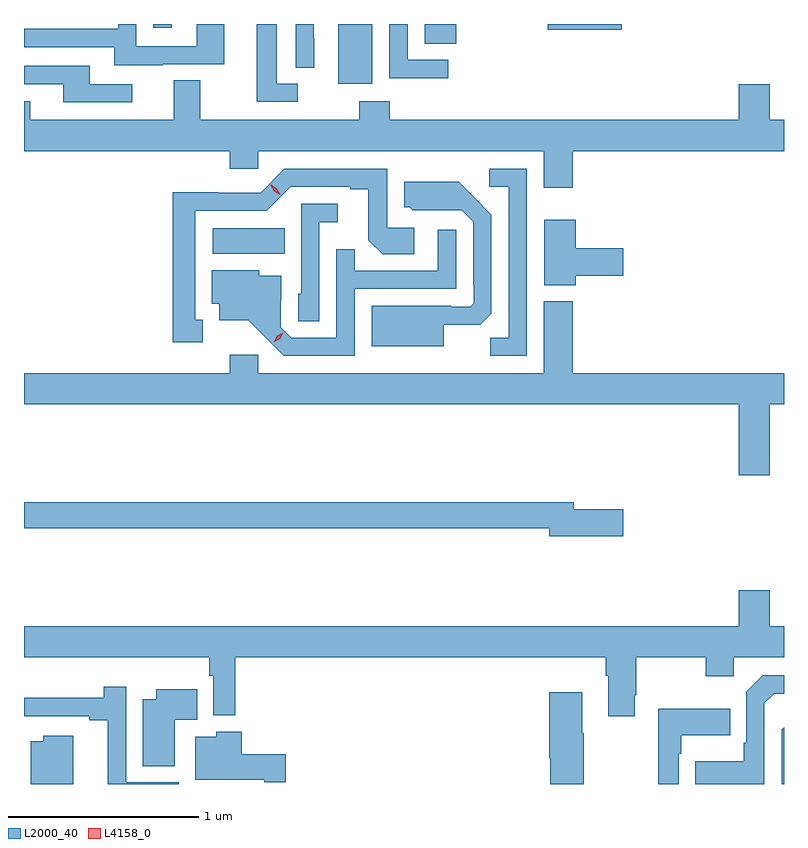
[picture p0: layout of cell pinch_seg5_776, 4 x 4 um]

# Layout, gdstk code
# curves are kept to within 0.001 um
import gdstk
lib = gdstk.Library(unit=1e-6, precision=1e-09)
def R(c, l, rs):  # rectangles x0, y0, x1, y1
    for r in rs: c.add(gdstk.rectangle(r[:2], r[2:], *l))
def P(c, l, *ps):  # polygons
    for p in ps: c.add(gdstk.Polygon(p, *l))
L2000_40 = (2000, 40)
L4158_0 = (4158, 0)

pinch_seg5_776 = lib.new_cell('pinch_seg5_776')
R(pinch_seg5_776, L2000_40, [(797.604,909.5,797.984,909.634), (798.266,910.394,798.445,910.709), (798.719,910.606,798.885,910.709), (799.368,910.678,799.756,910.709), (797.292,910.689,797.389,910.709)])
P(pinch_seg5_776, L2000_40, [(797.341,910.497),(797.665,910.497),(797.665,910.709),(797.52,910.709),(797.52,910.593),(797.202,910.593),(797.202,910.709),(797.106,910.709),(797.106,910.683),(796.611,910.683),(796.611,910.587),(797.087,910.587),(797.087,910.493),(797.341,910.493)],
  [(798.844,910.521),(798.63,910.521),(798.63,910.709),(798.534,910.709),(798.534,910.423),(798.844,910.423)],
  [(798.138,910.634),(798.137,910.634),(798.137,910.709),(798.042,910.709),(798.042,910.48),(798.138,910.48)],
  [(798.052,910.395),(797.941,910.395),(797.941,910.709),(797.837,910.709),(797.837,910.299),(798.052,910.299)],
  [(797.182,910.392),(796.957,910.392),(796.957,910.488),(796.611,910.488),(796.611,910.392),(796.817,910.392),(796.817,910.296),(797.182,910.296)],
  [(799.499,910.04),(800.611,910.04),(800.611,910.204),(800.536,910.204),(800.536,910.393),(800.372,910.393),(800.372,910.204),(798.536,910.204),(798.536,910.303),(798.376,910.303),(798.376,910.204),(797.539,910.204),(797.539,910.412),(797.399,910.412),(797.399,910.204),(796.645,910.204),(796.645,910.303),(796.611,910.303),(796.611,910.04),(797.693,910.04),(797.693,909.947),(797.844,909.947),(797.844,910.04),(799.346,910.04),(799.346,909.846),(799.499,909.846)],
  [(799.257,909.948),(799.059,909.948),(799.059,909.852),(799.161,909.852),(799.161,909.059),(799.066,909.059),(799.066,908.964),(799.257,908.964)],
  [(797.551,909.153),(797.512,909.153),(797.512,909.726),(797.889,909.726),(798.015,909.852),(798.329,909.852),(798.329,909.84),(798.423,909.84),(798.423,909.572),(798.499,909.496),(798.664,909.496),(798.664,909.636),(798.522,909.636),(798.522,909.948),(797.982,909.948),(797.856,909.822),(797.634,909.822),(797.634,909.824),(797.394,909.824),(797.394,909.033),(797.551,909.033)],
  [(798.82,909.125),(799.012,909.125),(799.071,909.184),(799.071,909.706),(798.899,909.88),(798.611,909.88),(798.611,909.744),(798.642,909.744),(798.658,909.728),(798.915,909.729),(798.975,909.669),(798.975,909.34),(798.978,909.34),(798.978,909.24),(798.96,909.222),(798.86,909.222),(798.86,909.226),(798.44,909.226),(798.44,909.014),(798.82,909.014)],
  [(798.165,909.665),(798.262,909.665),(798.262,909.762),(798.069,909.762),(798.069,909.288),(798.054,909.288),(798.054,909.145),(798.165,909.145)],
  [(799.516,909.383),(799.765,909.383),(799.765,909.53),(799.516,909.53),(799.516,909.679),(799.349,909.679),(799.349,909.335),(799.516,909.335)],
  [(798.351,909.315),(798.885,909.315),(798.885,909.625),(798.789,909.625),(798.789,909.411),(798.353,909.411),(798.353,909.524),(798.255,909.524),(798.255,909.057),(798.018,909.057),(797.961,909.114),(797.961,909.256),(797.965,909.256),(797.965,909.385),(797.85,909.385),(797.85,909.412),(797.6,909.412),(797.6,909.236),(797.639,909.236),(797.639,909.149),(797.791,909.149),(797.978,908.964),(798.351,908.964)],
  [(800.536,908.708),(800.611,908.708),(800.611,908.872),(799.499,908.872),(799.499,909.25),(799.346,909.25),(799.346,908.872),(797.844,908.872),(797.844,908.968),(797.693,908.968),(797.693,908.872),(796.611,908.872),(796.611,908.708),(800.372,908.708),(800.372,908.334),(800.536,908.334)],
  [(799.765,908.156),(799.504,908.156),(799.504,908.192),(796.611,908.192),(796.611,908.056),(799.376,908.056),(799.376,908.014),(799.765,908.014)],
  [(799.825,907.177),(799.833,907.177),(799.833,907.376),(800.2,907.376),(800.2,907.277),(800.346,907.277),(800.346,907.376),(800.611,907.376),(800.611,907.54),(800.536,907.54),(800.536,907.729),(800.372,907.729),(800.372,907.54),(796.611,907.54),(796.611,907.376),(797.587,907.376),(797.587,907.28),(797.607,907.28),(797.607,907.07),(797.723,907.07),(797.723,907.376),(799.673,907.376),(799.673,907.28),(799.685,907.28),(799.685,907.065),(799.825,907.065)],
  [(800.508,907.134),(800.559,907.185),(800.611,907.185),(800.611,907.281),(800.499,907.281),(800.412,907.194),(800.412,906.925),(800.4,906.925),(800.4,906.829),(800.143,906.829),(800.143,906.709),(800.508,906.709)],
  [(797.425,906.717),(797.148,906.717),(797.148,907.222),(797.032,907.222),(797.032,907.163),(796.611,907.163),(796.611,907.065),(796.955,907.065),(796.955,907.045),(797.051,907.045),(797.051,906.709),(797.425,906.709)],
  [(797.404,907.046),(797.522,907.046),(797.522,907.207),(797.306,907.207),(797.306,907.156),(797.237,907.156),(797.237,906.802),(797.404,906.802)],
  [(799.557,906.977),(799.549,906.977),(799.549,907.192),(799.376,907.192),(799.376,906.846),(799.382,906.846),(799.382,906.709),(799.557,906.709)],
  [(800.058,906.869),(800.071,906.869),(800.071,906.965),(800.327,906.965),(800.327,907.105),(799.95,907.105),(799.95,906.709),(800.058,906.709)],
  [(800.611,907.009),(800.598,906.996),(800.598,906.709),(800.611,906.709)],
  [(797.989,906.866),(797.756,906.866),(797.756,906.985),(797.622,906.985),(797.622,906.958),(797.513,906.958),(797.513,906.731),(797.876,906.731),(797.876,906.719),(797.989,906.719)],
  [(796.87,906.964),(796.712,906.964),(796.712,906.934),(796.646,906.934),(796.646,906.709),(796.87,906.709)])
P(pinch_seg5_776, L4158_0, [(797.928,909.037),(797.928,909.038),(797.945,909.067),(797.976,909.083),(797.976,909.083),(797.976,909.083),(797.959,909.053),(797.928,909.037)],
  [(797.959,909.81),(797.927,909.829),(797.91,909.861),(797.91,909.862),(797.911,909.862),(797.942,909.843),(797.959,909.81),(797.959,909.81)])

lib.write_gds('pinch_seg5_776.gds')
